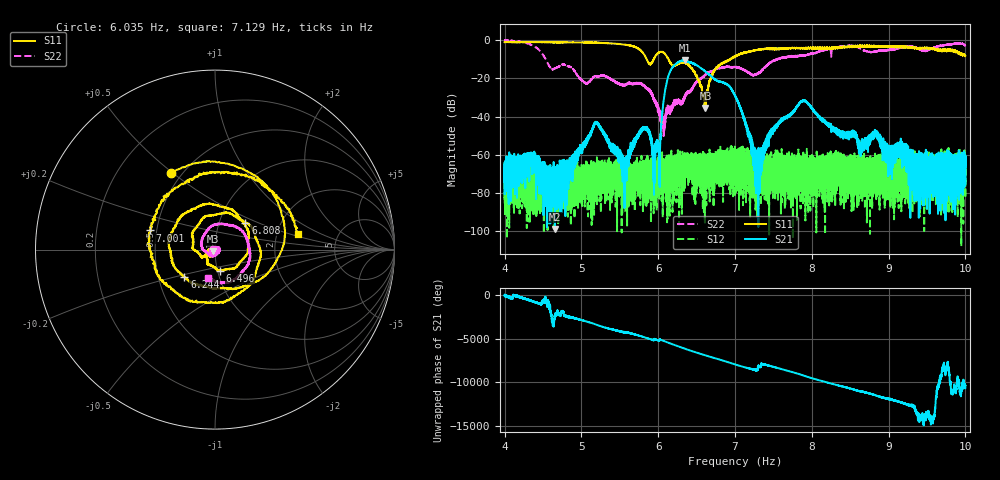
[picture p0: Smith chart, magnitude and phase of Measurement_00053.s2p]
!Created with skrf (http://scikit-rf.org).
# Hz S RI R 50.0
!freq ReS11 ImS11 ReS21 ImS21 ReS12 ImS12 ReS22 ImS22
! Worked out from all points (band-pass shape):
!   14001 points, 4 Hz to 10 Hz, reference 50 ohm
!   highest |S21| = -10.59 dB at 6.344 Hz (marker M1); lowest = -98.7 dB at 4.655 Hz (marker M2)
!   |S21| within 3 dB of the highest: 6.199652 Hz to 6.200216 Hz (564.2 uHz wide, 0.0091 % of centre); 6.2 Hz to 6.52 Hz (320.2 mHz wide, 5.03 % of centre)
!   lowest |S11| = -35.4 dB at 6.614 Hz (marker M3), VSWR 1.03, Z = 48.6 - j0.942 ohm
!   |S11| at or under -10 dB: 5.851 Hz to 5.941 Hz (90.2 mHz wide, 1.53 % of centre); 6.134 Hz to 6.933 Hz (799.5 mHz wide, 12.2 % of centre); 6.934228 Hz to 6.93494 Hz (712.7 uHz wide, 0.0103 % of centre)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
!   |S22| runs from -50.2 to -0.2 dB; largest |S21 - S12| = 0.3
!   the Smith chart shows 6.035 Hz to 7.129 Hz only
!   S11 on the Smith chart (normalised r, x): 6.035 Hz: 0.44, +0.49; 6.244 Hz: 0.68, -0.22; 6.496 Hz: 1.03, -0.25; 6.808 Hz: 1.33, +0.42; 7.001 Hz: 0.46, +0.11; 7.129 Hz: 2.63, +0.57
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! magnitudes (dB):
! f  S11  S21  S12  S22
! 4 Hz  -1.0  -67.0  -69.1  -0.2
! 4.655 Hz  -1.1  -98.7  -78.5  -14.7
! 5 Hz  -1.2  -54.6  -80.2  -20.7
! 5.194 Hz  -1.4  -43.1  -75.2  -18.8
! 5.563 Hz  -2.4  -65.5  -74.1  -23.7
! 5.806 Hz  -6.9  -45.5  -81.4  -23.5
! 6 Hz  -6.7  -54.5  -64.7  -34.8
! 6.035 Hz  -6.2  -45.7  -68.6  -39.4
! 6.113 Hz  -8.5  -21.6  -60.9  -37.7
! 6.244 Hz  -12.8  -12.0  -60.9  -31.8
! 6.344 Hz  -11.8  -10.6  -59.4  -30.4
! 6.496 Hz  -18.3  -13.0  -73.6  -22.1
! 6.614 Hz  -35.4  -16.5  -66.8  -18.2
! 6.808 Hz  -12.9  -21.7  -64.0  -14.7
! 7 Hz  -8.6  -29.0  -65.0  -14.0
! 7.001 Hz  -8.4  -29.2  -59.9  -14.2
! 7.129 Hz  -6.6  -43.1  -77.3  -15.9
! 7.303 Hz  -5.1  -70.8  -61.1  -17.4
! 7.582 Hz  -4.6  -42.9  -63.4  -9.7
! 8 Hz  -4.3  -35.5  -62.8  -6.9
! 9 Hz  -3.5  -58.3  -72.4  -5.1
! 10 Hz  -8.2  -66.5  -63.0  -3.1
